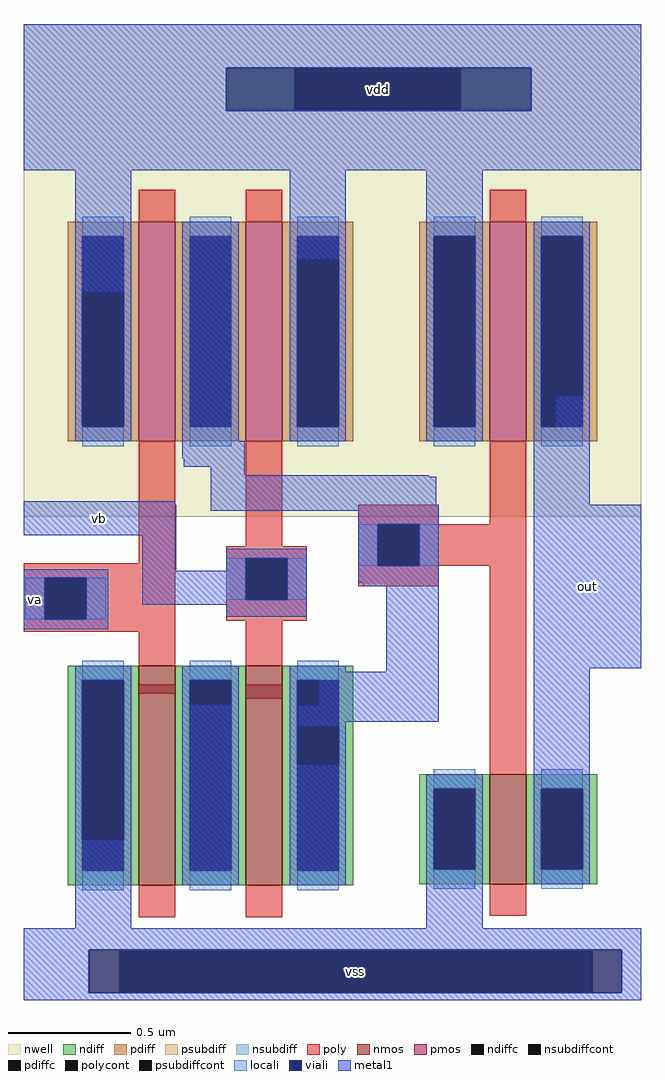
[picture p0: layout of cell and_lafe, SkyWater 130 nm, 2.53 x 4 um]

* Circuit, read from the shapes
.subckt and_lafe out va vb vdd vss
XM1 n1 va vss vss sky130_fd_pr__nfet_01v8 w=0.9 l=0.15
XM2 n2 vb n1 vss sky130_fd_pr__nfet_01v8 w=0.9 l=0.15
XM3 out n2 vss vss sky130_fd_pr__nfet_01v8 w=0.45 l=0.15
XM4 n2 va vdd vdd sky130_fd_pr__pfet_01v8 w=0.9 l=0.15
XM5 vdd vb n2 vdd sky130_fd_pr__pfet_01v8 w=0.9 l=0.15
XM6 out n2 vdd vdd sky130_fd_pr__pfet_01v8 w=0.9 l=0.15
.ends

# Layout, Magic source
magic
tech sky130A
magscale 1 2
<< nwell >>
rect -36 663 470 764
<< psubdiff >>
rect 18 -30 42 4
rect 430 -30 454 4
<< nsubdiff >>
rect 131 694 186 728
rect 322 694 380 728
<< psubdiffcont >>
rect 42 -30 430 4
<< nsubdiffcont >>
rect 186 694 322 728
<< poly >>
rect 58 322 88 396
rect 146 336 176 402
rect 238 354 304 370
rect 346 354 376 398
rect -36 310 88 322
rect -36 276 -19 310
rect 15 276 88 310
rect -36 266 88 276
rect 130 326 196 336
rect 130 292 146 326
rect 180 292 196 326
rect 238 320 254 354
rect 288 320 376 354
rect 238 303 304 320
rect 130 275 196 292
rect 58 244 88 266
rect 146 245 176 275
rect 58 215 88 223
rect 146 211 176 223
rect 346 174 376 320
<< polycont >>
rect -19 276 15 310
rect 146 292 180 326
rect 254 320 288 354
<< locali >>
rect -35 276 -19 310
rect 15 276 31 310
rect 130 292 146 326
rect 180 292 196 326
rect 238 320 254 354
rect 288 320 304 354
<< viali >>
rect 130 694 186 728
rect 186 694 322 728
rect 322 694 380 728
rect 130 693 380 694
rect -19 276 15 310
rect 146 292 180 326
rect 254 320 288 354
rect 17 4 454 5
rect 17 -30 42 4
rect 42 -30 430 4
rect 430 -30 454 4
<< metal1 >>
rect -36 728 470 764
rect -36 693 130 728
rect 380 693 470 728
rect -36 644 470 693
rect 6 544 52 644
rect 100 446 134 590
rect 182 571 228 644
rect 294 600 340 644
rect 100 434 140 446
rect 94 422 140 434
rect 400 428 428 459
rect 94 408 145 422
rect 95 401 145 408
rect 117 394 145 401
rect 117 393 296 394
rect -36 370 88 373
rect 117 370 302 393
rect 382 370 428 424
rect -36 345 89 370
rect 117 365 304 370
rect -36 310 33 317
rect -36 276 -19 310
rect 15 276 33 310
rect 61 316 89 345
rect 238 354 304 365
rect 130 326 196 334
rect 130 316 146 326
rect 61 292 146 316
rect 180 292 196 326
rect 238 320 254 354
rect 288 320 304 354
rect 238 306 304 320
rect 242 303 304 306
rect 61 288 196 292
rect 130 278 196 288
rect -36 268 33 276
rect 206 233 228 236
rect 261 233 304 303
rect 100 157 134 206
rect 182 205 184 213
rect 206 205 304 233
rect 189 192 304 205
rect 382 236 470 370
rect 189 189 228 192
rect 6 23 52 95
rect 100 59 140 157
rect 182 59 228 157
rect 382 147 428 236
rect 294 23 340 63
rect -36 5 470 23
rect -36 -30 17 5
rect 454 -30 470 5
rect -36 -36 470 -30
use sky130_fd_pr__pfet_01v8_5AYHFE  sky130_fd_pr__pfet_01v8_5AYHFE_1
transform 1 0 161 0 1 512
box -109 -152 109 152
use sky130_fd_pr__pfet_01v8_5AYHFE  sky130_fd_pr__pfet_01v8_5AYHFE_0
transform 1 0 73 0 1 512
box -109 -152 109 152
use sky130_fd_pr__pfet_01v8_5AYHFE  sky130_fd_pr__pfet_01v8_5AYHFE_2
transform 1 0 361 0 1 512
box -109 -152 109 152
use sky130_fd_pr__nfet_01v8_P8KVP3  sky130_fd_pr__nfet_01v8_P8KVP3_1
transform 1 0 161 0 1 148
box -73 -116 73 116
use sky130_fd_pr__nfet_01v8_P8KVP3  sky130_fd_pr__nfet_01v8_P8KVP3_0
transform 1 0 73 0 1 148
box -73 -116 73 116
use sky130_fd_pr__nfet_01v8_J836M4  sky130_fd_pr__nfet_01v8_J836M4_0
transform 1 0 361 0 1 104
box -73 -71 73 71
<< labels >>
rlabel metal1 -36 345 88 373 1 vb
rlabel metal1 -36 268 -19 317 1 va
rlabel nwell 130 693 380 728 1 vdd
rlabel metal1 17 -30 454 5 1 vss
rlabel metal1 382 236 470 370 1 out
<< end >>

# cell sky130_fd_pr__pfet_01v8_5AYHFE: kit device sky130_fd_pr__pfet_01v8, w 0.9 l 0.15 m 1 nf 1 diffcov 100 polycov 100 guard 0 glc 0 grc 0 gtc 0 gbc 0 tbcov 100 rlcov 100 topc 0 botc 0 poverlap 0 doverlap 1 lmin 0.15 wmin 0.42 compatible {sky130_fd_pr__pfet_01v8 sky130_fd_pr__pfet_01v8_lvt sky130_fd_pr__pfet_01v8_hvt sky130_fd_pr__pfet_g5v0d10v5} full_metal 0 viasrc 100 viadrn 100 viagate 100 viagb 0 viagr 0 viagl 0 viagt 0

# cell sky130_fd_pr__nfet_01v8_P8KVP3: kit device sky130_fd_pr__nfet_01v8, w 0.9 l 0.150 m 1 nf 1 diffcov 100 polycov 100 guard 0 glc 0 grc 0 gtc 0 gbc 0 tbcov 100 rlcov 100 topc 0 botc 0 poverlap 0 doverlap 1 lmin 0.15 wmin 0.42 compatible {sky130_fd_pr__nfet_01v8 sky130_fd_pr__nfet_01v8_lvt sky130_fd_bs_flash__special_sonosfet_star sky130_fd_pr__nfet_g5v0d10v5 sky130_fd_pr__nfet_05v0_nvt} full_metal 0 viasrc 100 viadrn 100 viagate 100 viagb 0 viagr 0 viagl 0 viagt 0

# cell sky130_fd_pr__nfet_01v8_J836M4: kit device sky130_fd_pr__nfet_01v8, w 0.45 l 0.150 m 1 nf 1 diffcov 100 polycov 100 guard 0 glc 0 grc 0 gtc 0 gbc 0 tbcov 100 rlcov 100 topc 0 botc 0 poverlap 0 doverlap 1 lmin 0.15 wmin 0.42 compatible {sky130_fd_pr__nfet_01v8 sky130_fd_pr__nfet_01v8_lvt sky130_fd_bs_flash__special_sonosfet_star sky130_fd_pr__nfet_g5v0d10v5 sky130_fd_pr__nfet_05v0_nvt} full_metal 0 viasrc 100 viadrn 100 viagate 100 viagb 0 viagr 0 viagl 0 viagt 0
